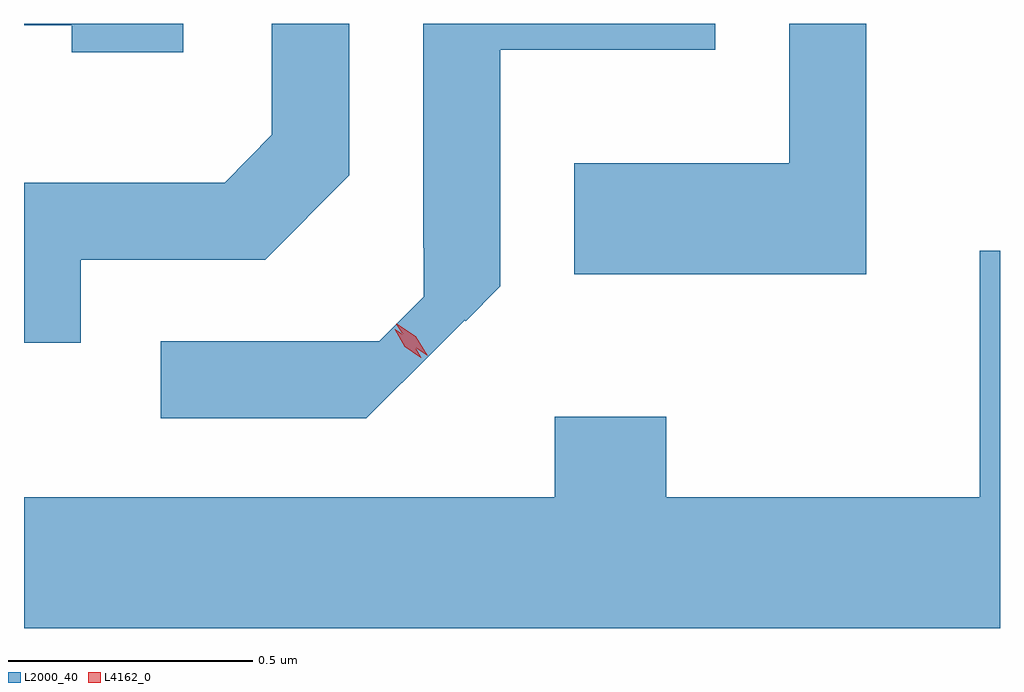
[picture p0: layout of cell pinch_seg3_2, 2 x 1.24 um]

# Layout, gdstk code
import gdstk
lib = gdstk.Library(unit=1e-6, precision=1e-09)
def P(c, l, *ps):  # polygons
    for p in ps: c.add(gdstk.Polygon(p, *l))
L2000_40 = (2000, 40)
L4162_0 = (4162, 0)

pinch_seg3_2 = lib.new_cell('pinch_seg3_2')
P(pinch_seg3_2, L2000_40, [(848.729,1247.134),(848.571,1247.134),(848.571,1246.849),(848.131,1246.849),(848.131,1246.621),(848.729,1246.621)],
  [(847.777,1246.399),(847.778,1246.399),(847.906,1246.527),(847.908,1246.525),(847.979,1246.596),(847.979,1247.081),(848.419,1247.081),(848.419,1247.134),(847.821,1247.134),(847.821,1246.675),(847.822,1246.675),(847.822,1246.575),(847.731,1246.484),(847.283,1246.484),(847.283,1246.326),(847.704,1246.326)],
  [(847.119,1246.651),(847.497,1246.651),(847.669,1246.824),(847.669,1247.134),(847.511,1247.134),(847.511,1246.907),(847.414,1246.809),(847.003,1246.809),(847.003,1246.481),(847.119,1246.481)],
  [(847.329,1247.134),(847.003,1247.134),(847.003,1247.131),(847.101,1247.131),(847.101,1247.076),(847.329,1247.076)],
  [(849.003,1246.669),(848.961,1246.669),(848.961,1246.164),(848.319,1246.164),(848.319,1246.329),(848.091,1246.329),(848.091,1246.164),(847.003,1246.164),(847.003,1245.896),(849.003,1245.896)])
P(pinch_seg3_2, L4162_0, [(847.816,1246.45),(847.783,1246.472),(847.763,1246.508),(847.763,1246.508),(847.764,1246.508),(847.797,1246.486),(847.817,1246.45),(847.817,1246.45)],
  [(847.83,1246.454),(847.791,1246.48),(847.766,1246.519),(847.766,1246.52),(847.767,1246.52),(847.806,1246.494),(847.83,1246.454),(847.83,1246.454)])

lib.write_gds('pinch_seg3_2.gds')
